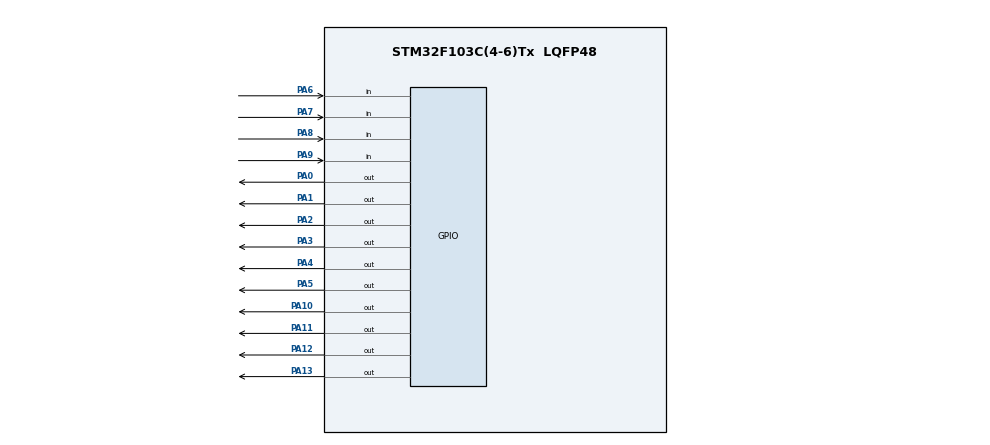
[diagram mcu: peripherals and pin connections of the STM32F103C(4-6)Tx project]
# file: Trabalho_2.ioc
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Mcu.Family=STM32F1
VP_SYS_VS_ND.Mode=No_Debug
ProjectManager.StackSize=0x400
PA0-WKUP.Signal=GPIO_Output
PA13.Signal=GPIO_Output
PA12.Signal=GPIO_Output
ProjectManager.TargetToolchain=STM32CubeIDE
PA9.Signal=GPIO_Input
PA1.Signal=GPIO_Output
PA5.Signal=GPIO_Output
board=custom
RCC.APB2Freq_Value=8000000
PA8.Signal=GPIO_Input
Mcu.Name=STM32F103C(4-6)Tx
PA2.Signal=GPIO_Output
PA4.Signal=GPIO_Output
Mcu.Package=LQFP48
PA6.Signal=GPIO_Input
PA11.Signal=GPIO_Output
PA10.Signal=GPIO_Output
ProjectManager.HeapSize=0x200
NVIC.PriorityGroup=NVIC_PRIORITYGROUP_4
RCC.APB1Freq_Value=8000000
PA3.Signal=GPIO_Output
PA7.Signal=GPIO_Input

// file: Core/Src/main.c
/* USER CODE BEGIN Header */
/**
  ******************************************************************************
  * @file           : main.c
  * @brief          : Main program body
  ******************************************************************************
  * @attention
  *
  * <h2><center>&copy; Copyright (c) 2021 STMicroelectronics.
  * All rights reserved.</center></h2>
  *
  * This software component is licensed by ST under BSD 3-Clause license,
  * the "License"; You may not use this file except in compliance with the
  * License. You may obtain a copy of the License at:
  *                        opensource.org/licenses/BSD-3-Clause
  *
  ******************************************************************************
  */
/* USER CODE END Header */
#include "main.h"

/* USER CODE BEGIN Includes */
#include "stdio.h"
#include "stdlib.h"
/* USER CODE END Includes */

/* USER CODE BEGIN PD */
#define cursor_apagado	0x0c
#define cursor_aceso	0x0e
#define cursor_piscando	0x0f

#define en_0	GPIOA -> BRR  = 1<<0
#define en_1	GPIOA -> BSRR = 1<<0
#define rs_0	GPIOA -> BRR  = 1<<1
#define rs_1	GPIOA -> BSRR = 1<<1

#define d7_0	GPIOA -> BRR  = 1 << 5
#define d7_1	GPIOA -> BSRR = 1 << 5
#define d6_0	GPIOA -> BRR  = 1 << 4
#define d6_1	GPIOA -> BSRR = 1 << 4
#define d5_0	GPIOA -> BRR  = 1 << 3
#define d5_1	GPIOA -> BSRR = 1 << 3
#define d4_0	GPIOA -> BRR  = 1 << 2
#define d4_1	GPIOA -> BSRR = 1 << 2
/* USER CODE END PD */

void SystemClock_Config(void);
static void MX_GPIO_Init(void);
/* USER CODE BEGIN PFP */

void lcd_wrcom(uint8_t com);
void lcd_wrchar(char ch);
void lcd_init(uint8_t cursor);
void lcd_clear (void);
void lcd_goto(uint8_t x, uint8_t y);
void lcd_wrstr(char *str);
void lcd_default(void);

/* USER CODE END PFP */

int main(void)
{

  /* MCU Configuration--------------------------------------------------------*/

  /* Reset of all peripherals, Initializes the Flash interface and the Systick. */
  HAL_Init();

  /* Configure the system clock */
  SystemClock_Config();

  /* Initialize all configured peripherals */
  MX_GPIO_Init();
  /* USER CODE BEGIN 2 */
  char teclado[4][4] = {{'7','8','9','/'},{'4','5','6','*'},{'1','2','3','-'},{'c','0','=','+'}};
  char tecla_pres = '$';
  char num_calc[5],res[8];
  char op;
  int calc,num_a, num_b;
  uint8_t num_calc_i;

  lcd_init(cursor_aceso);
  lcd_goto(0,0);
  lcd_wrstr("LAB. PROCESSADOR");
  lcd_goto(0,1);
  lcd_wrstr("MIGUEL & OTAVIO");
  HAL_Delay(5000); //DEIXAR 5000

  lcd_default();

  op = 0;
  num_calc_i=num_a=num_b=0;

  /* USER CODE END 2 */

  /* Infinite loop */
  while (1)
  {

    /* USER CODE BEGIN 3 */
	  for(int i=10; i<14; i++){
		  HAL_Delay(10);
		  GPIOA->BSRR = (1 << i);

		  for(int j=6; j<10; j++){
			  if(GPIOA->IDR & (1<<j)){
				  if(op == '='){

					  lcd_default();
					  tecla_pres = '$';
					  for(int i=0; i<9; i++){
						  num_calc[i]=0;
						  res[i]=0;
					  }
					  op = 0;
					  num_calc_i=num_b=num_a=0;

				  }
				  tecla_pres = teclado[j-6][i-10];
			  }

			  while(GPIOA->IDR & (1<<j)){}
		  	  }

		  HAL_Delay(10);
		  GPIOA->BRR = (1 << i);

	  }

	  if(tecla_pres != '$'){

		  switch(tecla_pres){
			  case '0' ... '9':
			  	  lcd_wrchar(tecla_pres);
			  	  num_calc[num_calc_i] = tecla_pres;
			  	  num_calc_i++;
			  break;

			  case '/':
			  	  lcd_wrchar(tecla_pres);

			  	  op = '/';
			  	  num_a = atoi(num_calc);
			  	  num_calc_i = 0;

			  	  for(int i=0; i<6; i++) num_calc[i]=0;

			  break;

			  case '*':
			  	  lcd_wrchar(tecla_pres);

			  	  op = '*';
			  	  num_a = atoi(num_calc);
			  	  num_calc_i = 0;

			  	  for(int i=0; i<6; i++) num_calc[i]=0;
			  break;

			  case '-':
			  	  lcd_wrchar(tecla_pres);
			  	  op = '-';

			  	  num_a = atoi(num_calc);
			  	  num_calc_i = 0;

			  	  for(int i=0; i<6; i++) num_calc[i]=0;
			  break;

			  case '+':
			  	  lcd_wrchar(tecla_pres);

			  	  op = '+';
			  	  num_a = atoi(num_calc);
			  	  num_calc_i = 0;

			  	  for(int i=0; i<6; i++) num_calc[i]=0;

			  break;

			  case '=':
				  num_b = atoi(num_calc);

				  if(op == '+') calc = num_a + num_b;
				  if(op == '-') calc = num_a - num_b;
				  if(op == '*') calc = num_a * num_b;
				  if(op == '/') {
					  if(num_b == 0){
						  lcd_goto(10,1);
						  sprintf(res,"NaN 0!");
						  lcd_wrstr(res);
						  op = '=';
						  break;

					  }

					  calc = num_a / num_b;

					  lcd_goto(10,1);
					  sprintf(res,"%d", (calc));
					  lcd_wrstr(res);

					  calc = ((num_a % num_b)*1000)/num_b;

					  sprintf(res,".%d", (calc));
					  lcd_wrstr(res);
					  op = '=';
					  break;
				  }

				  lcd_goto(10,1);
				  sprintf(res,"%d", (calc));
				  lcd_wrstr(res);
				  op = '=';

			  break;

			  case 'c':
				  lcd_default();

				  tecla_pres = '$';
				  for(int i=0; i<9; i++){
					  num_calc[i]=0;
					  res[i]=0;
				  }
				  op = 0;
				  num_calc_i=num_b=num_a=0;
			  break;

		  }

		  tecla_pres = '$';
	  }

  }
  /* USER CODE END 3 */
}

void SystemClock_Config(void)
{
  RCC_OscInitTypeDef RCC_OscInitStruct = {0};
  RCC_ClkInitTypeDef RCC_ClkInitStruct = {0};

  /** Initializes the RCC Oscillators according to the specified parameters
  * in the RCC_OscInitTypeDef structure.
  */
  RCC_OscInitStruct.OscillatorType = RCC_OSCILLATORTYPE_HSI;
  RCC_OscInitStruct.HSIState = RCC_HSI_ON;
  RCC_OscInitStruct.HSICalibrationValue = RCC_HSICALIBRATION_DEFAULT;
  RCC_OscInitStruct.PLL.PLLState = RCC_PLL_NONE;
  if (HAL_RCC_OscConfig(&RCC_OscInitStruct) != HAL_OK)
  {
    Error_Handler();
  }
  /** Initializes the CPU, AHB and APB buses clocks
  */
  RCC_ClkInitStruct.ClockType = RCC_CLOCKTYPE_HCLK|RCC_CLOCKTYPE_SYSCLK
                              |RCC_CLOCKTYPE_PCLK1|RCC_CLOCKTYPE_PCLK2;
  RCC_ClkInitStruct.SYSCLKSource = RCC_SYSCLKSOURCE_HSI;
  RCC_ClkInitStruct.AHBCLKDivider = RCC_SYSCLK_DIV1;
  RCC_ClkInitStruct.APB1CLKDivider = RCC_HCLK_DIV1;
  RCC_ClkInitStruct.APB2CLKDivider = RCC_HCLK_DIV1;

  if (HAL_RCC_ClockConfig(&RCC_ClkInitStruct, FLASH_LATENCY_0) != HAL_OK)
  {
    Error_Handler();
  }
}

static void MX_GPIO_Init(void)
{
  GPIO_InitTypeDef GPIO_InitStruct = {0};

  /* GPIO Ports Clock Enable */
  __HAL_RCC_GPIOA_CLK_ENABLE();

  /*Configure GPIO pin Output Level */
  HAL_GPIO_WritePin(GPIOA, GPIO_PIN_0|GPIO_PIN_1|GPIO_PIN_2|GPIO_PIN_3
                          |GPIO_PIN_4|GPIO_PIN_5|GPIO_PIN_10|GPIO_PIN_11
                          |GPIO_PIN_12|GPIO_PIN_13, GPIO_PIN_RESET);

  /*Configure GPIO pins : PA0 PA1 PA2 PA3
                           PA4 PA5 PA10 PA11
                           PA12 PA13 */
  GPIO_InitStruct.Pin = GPIO_PIN_0|GPIO_PIN_1|GPIO_PIN_2|GPIO_PIN_3
                          |GPIO_PIN_4|GPIO_PIN_5|GPIO_PIN_10|GPIO_PIN_11
                          |GPIO_PIN_12|GPIO_PIN_13;
  GPIO_InitStruct.Mode = GPIO_MODE_OUTPUT_PP;
  GPIO_InitStruct.Pull = GPIO_NOPULL;
  GPIO_InitStruct.Speed = GPIO_SPEED_FREQ_LOW;
  HAL_GPIO_Init(GPIOA, &GPIO_InitStruct);

  /*Configure GPIO pins : PA6 PA7 PA8 PA9 */
  GPIO_InitStruct.Pin = GPIO_PIN_6|GPIO_PIN_7|GPIO_PIN_8|GPIO_PIN_9;
  GPIO_InitStruct.Mode = GPIO_MODE_INPUT;
  GPIO_InitStruct.Pull = GPIO_NOPULL;
  HAL_GPIO_Init(GPIOA, &GPIO_InitStruct);

}

/* USER CODE BEGIN 4 */
void udelay(void)
{
	int tempo = 7;
	while(tempo--);
}

void delayus(int tempo)
{
	while(tempo--) udelay();
}

// Recebe 4 bits e coloca bit0 --> D4 LCD
//						  bit1 --> D5 LCD
//						  bit2 --> D6 LCD
//						  bit3 --> D7 LCD

void lcd_send4bits(uint8_t dat)
{
	if((dat & (1<<0)) == 0) d4_0; else d4_1;
	if((dat & (1<<1)) == 0) d5_0; else d5_1;
	if((dat & (1<<2)) == 0) d6_0; else d6_1;
	if((dat & (1<<3)) == 0) d7_0; else d7_1;

}

//Comando de 4 bits
void lcd_wrcom4(uint8_t com)
{
	lcd_send4bits(com);
	rs_0;
	en_1;
	delayus(5);
	en_0;
	HAL_Delay(5);
}

// Comando de 8 bits
// com D7...D4 D3 ... D0
void lcd_wrcom(uint8_t com)
{
	lcd_send4bits(com>>4);
	rs_0;
	en_1;
	delayus(5);
	en_0;

	lcd_send4bits(com);
	en_1;
	delayus(5);
	en_0;
	HAL_Delay(5);

}

void lcd_wrchar(char ch)
{
	lcd_send4bits(ch>>4);
	rs_1;
	en_1;
	delayus(5);
	en_0;
	HAL_Delay(5);

	lcd_send4bits(ch);
	en_1;
	delayus(5);
	en_0;
	HAL_Delay(5);
}

void lcd_init(uint8_t cursor)
{
	lcd_wrcom4(3);
	lcd_wrcom4(3);
	lcd_wrcom4(3);
	lcd_wrcom4(2);

	lcd_wrcom(0x28);
	lcd_wrcom(cursor);
	lcd_wrcom(0x06);
	lcd_wrcom(0x01);
}

void lcd_clear (void)
{
	lcd_wrcom(0x01);
}

void lcd_goto(uint8_t x, uint8_t y)
{
	uint8_t com = 0x80;
	if(y==0) com = 0x80 + x;
	if(y==1) com = 0xC0 + x;
	if(y==2) com = 0x90 + x;
	if(y==3) com = 0xD0 + x;

	lcd_wrcom(com);
}

void lcd_wrstr(char *str)
{
	while(*str) lcd_wrchar(*(str++));
}

void lcd_default(void){

	  lcd_clear ();

	  lcd_goto(0,0);
	  lcd_wrstr("OP=> ");
	  lcd_goto(0,1);
	  lcd_wrstr("RESULTADO= ");

	  lcd_goto(5,0);

}

/* USER CODE END 4 */

void Error_Handler(void)
{
  __disable_irq();
  while (1)
  {
  }
}

/************************ (C) COPYRIGHT STMicroelectronics *****END OF FILE****/
